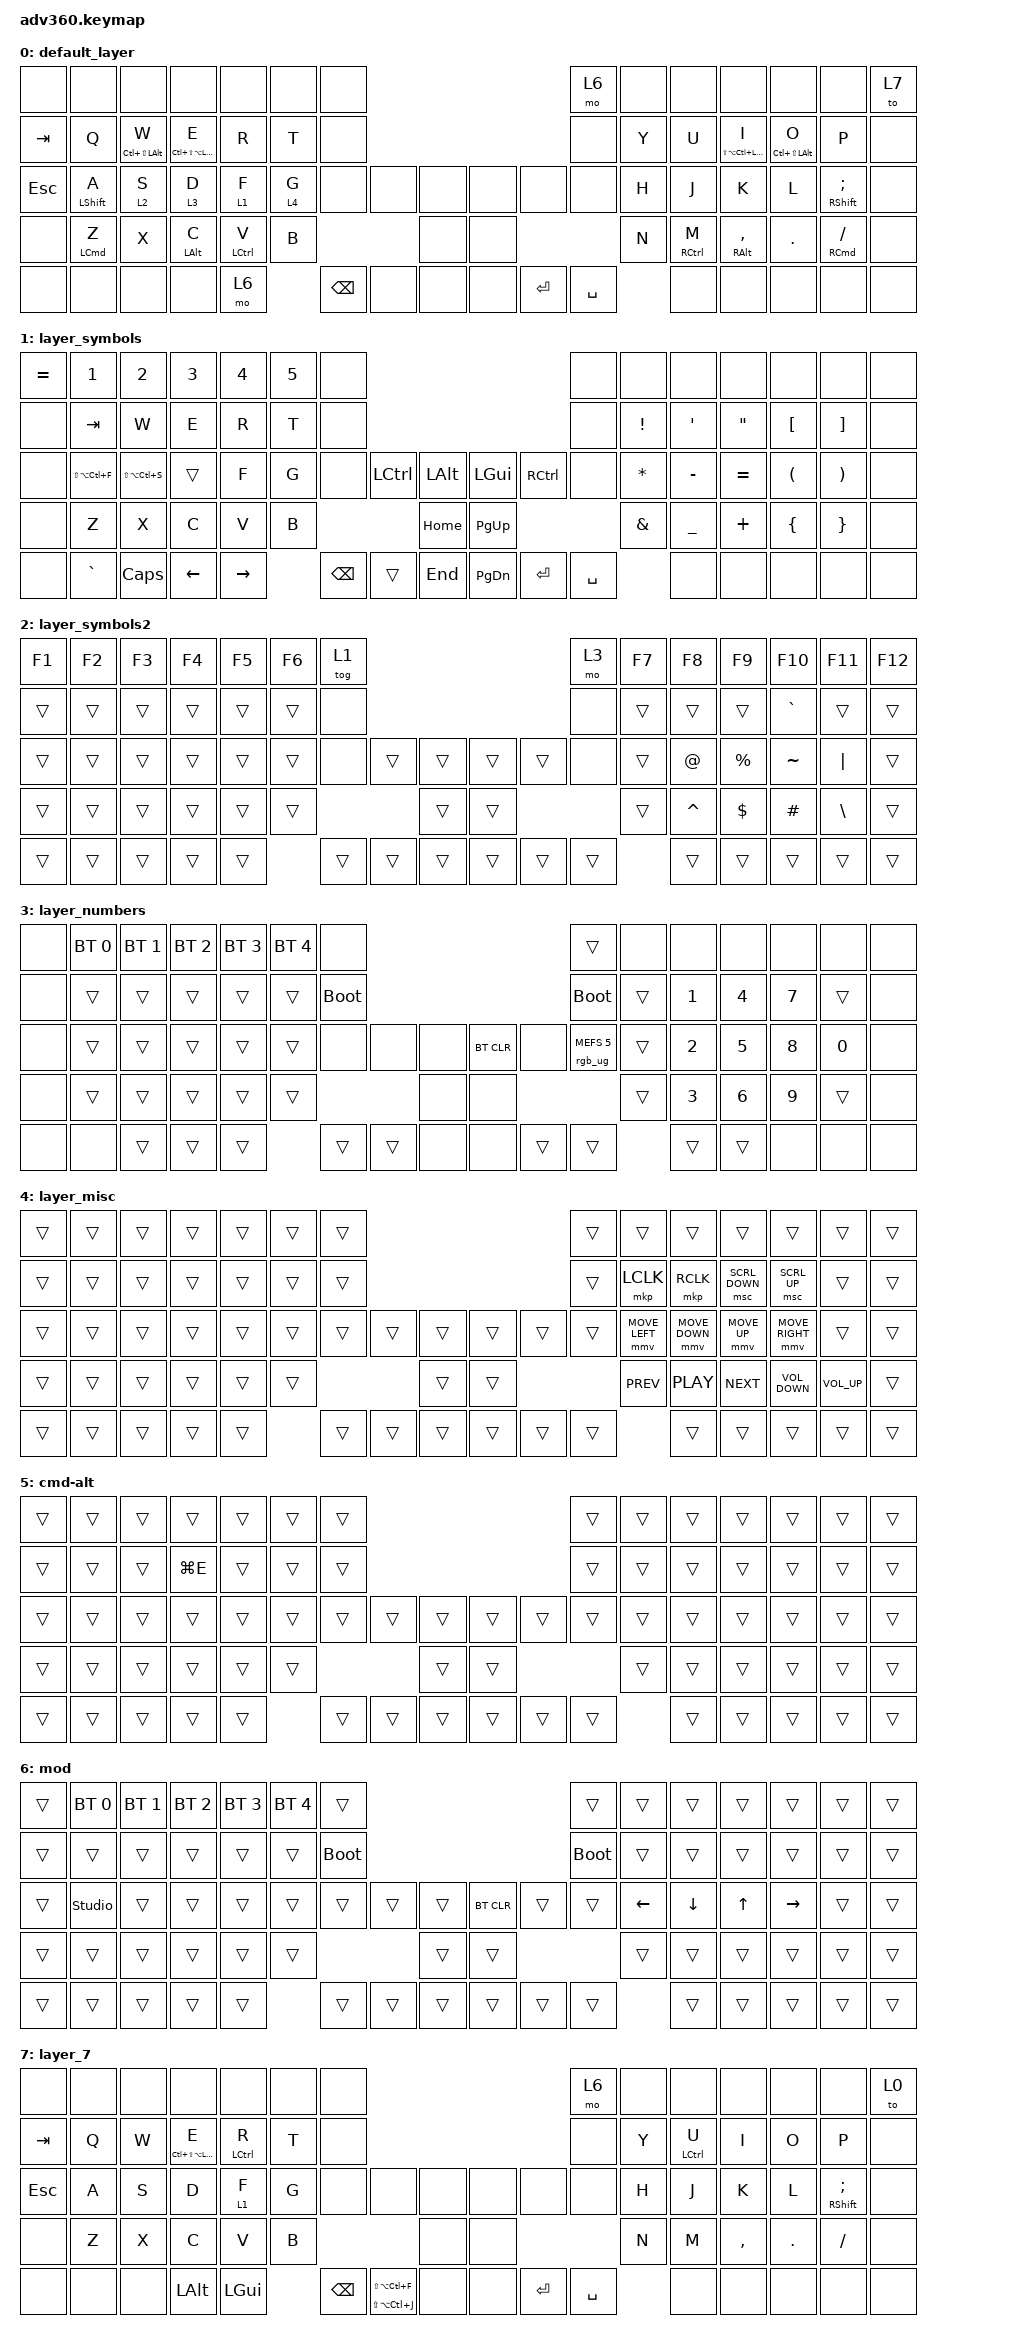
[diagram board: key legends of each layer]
/*
 * Copyright (c) 2020 The ZMK Contributors
 *
 * SPDX-License-Identifier: MIT
 */
/* THIS FILE WAS GENERATED!
 *
 * This file was generated automatically. You may or may not want to
 * edit it directly.
 */

#define ZMK_POINTING_DEFAULT_MOVE_VAL 1200  // default: 600
#define ZMK_POINTING_DEFAULT_SCRL_VAL 20    // default: 10

#include <dt-bindings/zmk/stp.h>
#include <behaviors.dtsi>
#include <dt-bindings/zmk/bt.h>
#include <dt-bindings/zmk/keys.h>
#include <dt-bindings/zmk/pointing.h>
#include <dt-bindings/zmk/rgb.h>

&mt {
    tapping-term-ms = <190>;
    flavor = "tap-preferred";
};

&mmv { time-to-max-speed-ms = <300>; };

&msc { time-to-max-speed-ms = <300>; };

/ {
    behaviors {
        #include "macros.dtsi"
      #include "version.dtsi"

        hm: homerow_mods {
            compatible = "zmk,behavior-hold-tap";
            label = "HOMEROW_MODS";
            #binding-cells = <2>;
            tapping-term-ms = <200>;
            quick_tap_ms = <175>;
            flavor = "tap-preferred";
            bindings = <&kp>, <&kp>;
        };
    };

    keymap {
        compatible = "zmk,keymap";

        default_layer {
            bindings = <
&none    &none             &none               &none                   &none        &none    &none                                              &mo 6      &none  &none        &none                   &none                   &none                      &to 7
&kp TAB  &kp Q             &mt LC(LS(LALT)) W  &mt LC(LS(LA(LGUI))) E  &kp R        &kp T    &none                                              &none      &kp Y  &kp U        &mt LS(LA(LC(LCMD))) I  &mt LC(LS(LEFT_ALT)) O  &kp P                      &none
&kp ESC  &mt LEFT_SHIFT A  &lt 2 S             &lt 3 D                 &lt 1 F      &lt 4 G  &none          &none  &none      &none  &none      &none      &kp H  &kp J        &kp K                   &kp L                   &mt RIGHT_SHIFT SEMICOLON  &none
&none    &mt LCMD Z        &kp X               &mt LEFT_ALT C          &mt LCTRL V  &kp B                          &none      &none                        &kp N  &mt RCTRL M  &mt RIGHT_ALT COMMA     &kp DOT                 &mt RCMD FSLH              &none
&none    &none             &none               &none                   &mo 6                 &kp BACKSPACE  &none  &none      &none  &kp ENTER  &kp SPACE         &none        &none                   &none                   &none                      &none
            >;
        };

        layer_symbols {
            bindings = <
&kp EQUAL  &kp N1             &kp N2             &kp N3    &kp N4     &kp N5  &none                                                    &none      &none            &none             &none              &none                 &none                  &none
&none      &kp TAB            &kp W              &kp E     &kp R      &kp T   &none                                                    &none      &kp EXCLAMATION  &kp SINGLE_QUOTE  &kp DOUBLE_QUOTES  &kp LEFT_BRACKET      &kp RIGHT_BRACKET      &none
&none      &kp LS(LA(LC(F)))  &kp LS(LA(LC(S)))  &trans    &kp F      &kp G   &none     &kp LCTRL  &kp LALT      &kp LGUI   &kp RCTRL  &none      &kp ASTERISK     &kp MINUS         &kp EQUAL          &kp LEFT_PARENTHESIS  &kp RIGHT_PARENTHESIS  &none
&none      &kp Z              &kp X              &kp C     &kp V      &kp B                        &kp HOME      &kp PG_UP                        &kp AMPERSAND    &kp UNDERSCORE    &kp PLUS           &kp LEFT_BRACE        &kp RIGHT_BRACE        &none
&none      &kp GRAVE          &kp CAPS           &kp LEFT  &kp RIGHT          &kp BSPC  &trans     &kp END       &kp PG_DN  &kp ENTER  &kp SPACE                   &none             &none              &none                 &none                  &none
            >;
        };

        layer_symbols2 {
            bindings = <
&kp F1  &kp F2  &kp F3  &kp F4  &kp F5  &kp F6  &tog 1                                      &mo 3   &kp F7  &kp F8       &kp F9       &kp F10    &kp F11        &kp F12
&trans  &trans  &trans  &trans  &trans  &trans  &none                                       &none   &trans  &trans       &trans       &kp GRAVE  &trans         &trans
&trans  &trans  &trans  &trans  &trans  &trans  &none   &trans  &trans      &trans  &trans  &none   &trans  &kp AT_SIGN  &kp PERCENT  &kp TILDE  &kp PIPE       &trans
&trans  &trans  &trans  &trans  &trans  &trans                  &trans      &trans                  &trans  &kp CARET    &kp DOLLAR   &kp HASH   &kp BACKSLASH  &trans
&trans  &trans  &trans  &trans  &trans          &trans  &trans  &trans      &trans  &trans  &trans          &trans       &trans       &trans     &trans         &trans
            >;
        };

        layer_numbers {
            bindings = <
&none  &bt BT_SEL 0  &bt BT_SEL 1  &bt BT_SEL 2  &bt BT_SEL 3  &bt BT_SEL 4  &none                                               &trans                  &none   &none         &none         &none         &none         &none
&none  &trans        &trans        &trans        &trans        &trans        &bootloader                                         &bootloader             &trans  &kp NUMBER_1  &kp NUMBER_4  &kp NUMBER_7  &trans        &none
&none  &trans        &trans        &trans        &trans        &trans        &none        &none   &none      &bt BT_CLR  &none   &rgb_ug RGB_MEFS_CMD 5  &trans  &kp NUMBER_2  &kp NUMBER_5  &kp NUMBER_8  &kp NUMBER_0  &none
&none  &trans        &trans        &trans        &trans        &trans                             &none      &none                                       &trans  &kp NUMBER_3  &kp NUMBER_6  &kp NUMBER_9  &trans        &none
&none  &none         &trans        &trans        &trans                      &trans       &trans  &none      &none       &trans  &trans                          &trans        &trans        &none         &none         &none
            >;
        };

        layer_misc {
            bindings = <
&trans  &trans  &trans  &trans  &trans  &trans  &trans                                      &trans  &trans          &trans          &trans          &trans             &trans           &trans
&trans  &trans  &trans  &trans  &trans  &trans  &trans                                      &trans  &mkp LCLK       &mkp RCLK       &msc SCRL_DOWN  &msc SCRL_UP       &trans           &trans
&trans  &trans  &trans  &trans  &trans  &trans  &trans  &trans  &trans      &trans  &trans  &trans  &mmv MOVE_LEFT  &mmv MOVE_DOWN  &mmv MOVE_UP    &mmv MOVE_RIGHT    &trans           &trans
&trans  &trans  &trans  &trans  &trans  &trans                  &trans      &trans                  &kp C_PREV      &kp C_PLAY      &kp C_NEXT      &kp C_VOLUME_DOWN  &kp C_VOLUME_UP  &trans
&trans  &trans  &trans  &trans  &trans          &trans  &trans  &trans      &trans  &trans  &trans                  &trans          &trans          &trans             &trans           &trans
            >;
        };

        cmd-alt {
            bindings = <
&trans  &trans  &trans  &trans     &trans  &trans  &trans                                      &trans  &trans  &trans  &trans  &trans  &trans  &trans
&trans  &trans  &trans  &kp LG(E)  &trans  &trans  &trans                                      &trans  &trans  &trans  &trans  &trans  &trans  &trans
&trans  &trans  &trans  &trans     &trans  &trans  &trans  &trans  &trans      &trans  &trans  &trans  &trans  &trans  &trans  &trans  &trans  &trans
&trans  &trans  &trans  &trans     &trans  &trans                  &trans      &trans                  &trans  &trans  &trans  &trans  &trans  &trans
&trans  &trans  &trans  &trans     &trans          &trans  &trans  &trans      &trans  &trans  &trans          &trans  &trans  &trans  &trans  &trans
            >;
        };

        mod {
            bindings = <
&trans  &bt BT_SEL 0    &bt BT_SEL 1  &bt BT_SEL 2  &bt BT_SEL 3  &bt BT_SEL 4  &trans                                               &trans       &trans    &trans          &trans        &trans     &trans  &trans
&trans  &trans          &trans        &trans        &trans        &trans        &bootloader                                          &bootloader  &trans    &trans          &trans        &trans     &trans  &trans
&trans  &studio_unlock  &trans        &trans        &trans        &trans        &trans       &trans  &trans      &bt BT_CLR  &trans  &trans       &kp LEFT  &kp DOWN_ARROW  &kp UP_ARROW  &kp RIGHT  &trans  &trans
&trans  &trans          &trans        &trans        &trans        &trans                             &trans      &trans                           &trans    &trans          &trans        &trans     &trans  &trans
&trans  &trans          &trans        &trans        &trans                      &trans       &trans  &trans      &trans      &trans  &trans                 &trans          &trans        &trans     &trans  &trans
            >;
        };

        layer_7 {
            bindings = <
&none    &none  &none  &none                   &none               &none  &none                                                                        &mo 6      &none  &none        &none      &none    &none                      &to 0
&kp TAB  &kp Q  &kp W  &mt LC(LS(LA(LGUI))) E  &mt LEFT_CONTROL R  &kp T  &none                                                                        &none      &kp Y  &mt LCTRL U  &kp I      &kp O    &kp P                      &none
&kp ESC  &kp A  &kp S  &kp D                   &lt 1 F             &kp G  &none          &none                            &none      &none  &none      &none      &kp H  &kp J        &kp K      &kp L    &mt RIGHT_SHIFT SEMICOLON  &none
&none    &kp Z  &kp X  &kp C                   &kp V               &kp B                                                  &none      &none                        &kp N  &kp M        &kp COMMA  &kp DOT  &kp FSLH                   &none
&none    &none  &none  &kp LEFT_ALT            &kp LEFT_GUI               &kp BACKSPACE  &mt LS(LA(LC(J))) LS(LA(LC(F)))  &none      &none  &kp ENTER  &kp SPACE         &none        &none      &none    &none                      &none
            >;
        };
    };

    extra1 {
        display-name = "Red";
        status = "reserved";
    };

    extra2 {
        display-name = "Purple";
        status = "reserved";
    };

    extra3 {
        display-name = "Cyan";
        status = "reserved";
    };

    extra4 {
        display-name = "Yellow";
        status = "reserved";
    };
};
